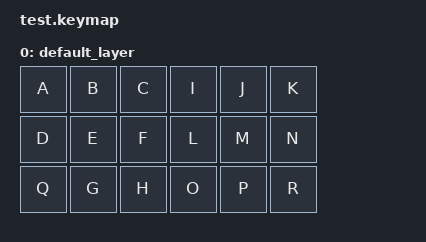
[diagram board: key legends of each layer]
#include <behaviors.dtsi>
#include <dt-bindings/zmk/keys.h>

/ {
    keymap {
        compatible = "zmk,keymap";

        default_layer {
            bindings = <
					&kp A	 &kp B  &kp C    &kp I  &kp J  &kp K
					&kp D  &kp E  &kp F    &kp L  &kp M  &kp N
					&kp Q  &kp G  &kp H    &kp O  &kp P  &kp R
            >;
        };
    };
};
